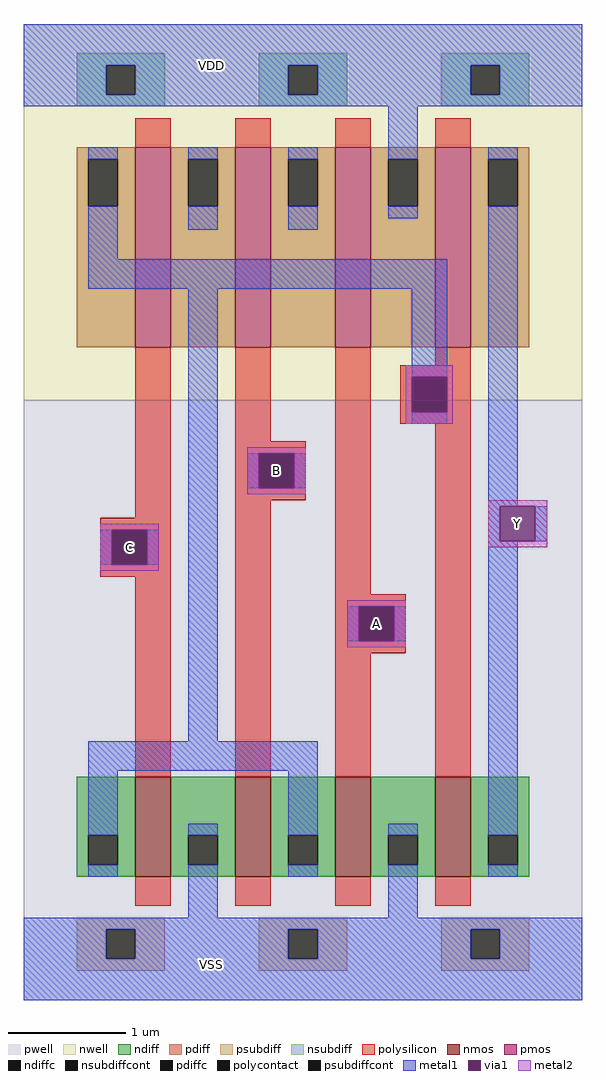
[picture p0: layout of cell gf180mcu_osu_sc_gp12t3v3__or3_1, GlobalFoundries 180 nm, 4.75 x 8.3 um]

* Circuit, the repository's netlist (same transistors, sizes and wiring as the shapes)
** sch_path: /foss/designs/work/12t_or3_1/gf180mcu_osu_sc_gp12t3v3__or3_1.sch
.subckt gf180mcu_osu_sc_gp12t3v3__or3_1 A B C Y VDD VSS
*.PININFO A:I B:I C:I Y:O VDD:B VSS:B
X1 net1 A VDD VDD pfet_03v3 w=1.7u l=0.3u m=1
X0 net2 B net1 VDD pfet_03v3 w=1.7u l=0.3u m=1
X6 net3 C net2 VDD pfet_03v3 w=1.7u l=0.3u m=1
X2 net3 A VSS VSS nfet_03v3 w=0.85u l=0.3u m=1
X3 net3 B VSS VSS nfet_03v3 w=0.85u l=0.3u m=1
X7 net3 C VSS VSS nfet_03v3 w=0.85u l=0.3u m=1
X4 Y net3 VDD VDD pfet_03v3 w=1.7u l=0.3u m=1
X5 Y net3 VSS VSS nfet_03v3 w=0.85u l=0.3u m=1
.ends

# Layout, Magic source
magic
tech gf180mcuD
<< nwell >>
rect 137 102 232 166
<< pwell >>
rect 137 0 232 102
<< nmos >>
rect 156 21 162 38
rect 173 21 179 38
rect 190 21 196 38
rect 207 21 213 38
<< pmos >>
rect 156 111 162 145
rect 173 111 179 145
rect 190 111 196 145
rect 207 111 213 145
<< ndiff >>
rect 146 28 156 38
rect 146 23 148 28
rect 153 23 156 28
rect 146 21 156 23
rect 162 28 173 38
rect 162 23 165 28
rect 170 23 173 28
rect 162 21 173 23
rect 179 28 190 38
rect 179 23 182 28
rect 187 23 190 28
rect 179 21 190 23
rect 196 28 207 38
rect 196 23 199 28
rect 204 23 207 28
rect 196 21 207 23
rect 213 28 223 38
rect 213 23 216 28
rect 221 23 223 28
rect 213 21 223 23
<< pdiff >>
rect 146 143 156 145
rect 146 135 148 143
rect 153 135 156 143
rect 146 111 156 135
rect 162 143 173 145
rect 162 135 165 143
rect 170 135 173 143
rect 162 111 173 135
rect 179 143 190 145
rect 179 135 182 143
rect 187 135 190 143
rect 179 111 190 135
rect 196 143 207 145
rect 196 135 199 143
rect 204 135 207 143
rect 196 111 207 135
rect 213 143 223 145
rect 213 135 216 143
rect 221 135 223 143
rect 213 111 223 135
<< ndiffc >>
rect 148 23 153 28
rect 165 23 170 28
rect 182 23 187 28
rect 199 23 204 28
rect 216 23 221 28
<< pdiffc >>
rect 148 135 153 143
rect 165 135 170 143
rect 182 135 187 143
rect 199 135 204 143
rect 216 135 221 143
<< psubdiff >>
rect 146 12 161 14
rect 146 7 151 12
rect 156 7 161 12
rect 146 5 161 7
rect 177 12 192 14
rect 177 7 182 12
rect 187 7 192 12
rect 177 5 192 7
rect 208 12 223 14
rect 208 7 213 12
rect 218 7 223 12
rect 208 5 223 7
<< nsubdiff >>
rect 146 159 161 161
rect 146 154 151 159
rect 156 154 161 159
rect 146 152 161 154
rect 177 159 192 161
rect 177 154 182 159
rect 187 154 192 159
rect 177 152 192 154
rect 208 159 223 161
rect 208 154 213 159
rect 218 154 223 159
rect 208 152 223 154
<< psubdiffcont >>
rect 151 7 156 12
rect 182 7 187 12
rect 213 7 218 12
<< nsubdiffcont >>
rect 151 154 156 159
rect 182 154 187 159
rect 213 154 218 159
<< polysilicon >>
rect 156 145 162 150
rect 173 145 179 150
rect 190 145 196 150
rect 207 145 213 150
rect 156 82 162 111
rect 150 80 162 82
rect 150 74 152 80
rect 158 74 162 80
rect 150 72 162 74
rect 156 38 162 72
rect 173 95 179 111
rect 173 93 185 95
rect 173 87 177 93
rect 183 87 185 93
rect 173 85 185 87
rect 173 38 179 85
rect 190 69 196 111
rect 207 108 213 111
rect 201 106 213 108
rect 201 100 203 106
rect 209 100 213 106
rect 201 98 213 100
rect 190 67 202 69
rect 190 61 194 67
rect 200 61 202 67
rect 190 59 202 61
rect 190 38 196 59
rect 207 38 213 98
rect 156 16 162 21
rect 173 16 179 21
rect 190 16 196 21
rect 207 16 213 21
<< polycontact >>
rect 152 74 158 80
rect 177 87 183 93
rect 203 100 209 106
rect 194 61 200 67
<< metal1 >>
rect 137 159 232 166
rect 137 154 151 159
rect 156 154 182 159
rect 187 154 213 159
rect 218 154 232 159
rect 137 152 232 154
rect 148 143 153 145
rect 148 126 153 135
rect 165 143 170 145
rect 165 131 170 135
rect 182 143 187 145
rect 182 131 187 135
rect 199 143 204 152
rect 199 133 204 135
rect 216 143 221 145
rect 148 121 209 126
rect 150 74 152 80
rect 158 74 160 80
rect 165 44 170 121
rect 203 106 209 121
rect 203 98 209 100
rect 175 87 177 93
rect 183 87 185 93
rect 216 84 221 135
rect 216 78 218 84
rect 224 78 226 84
rect 192 61 194 67
rect 200 61 202 67
rect 148 39 187 44
rect 148 28 153 39
rect 148 21 153 23
rect 165 28 170 30
rect 165 14 170 23
rect 182 28 187 39
rect 182 21 187 23
rect 199 28 204 30
rect 199 14 204 23
rect 216 28 221 78
rect 216 21 221 23
rect 137 12 232 14
rect 137 7 151 12
rect 156 7 182 12
rect 187 7 213 12
rect 218 7 232 12
rect 137 0 232 7
<< via1 >>
rect 152 74 158 80
rect 203 100 209 106
rect 177 87 183 93
rect 218 78 224 84
rect 194 61 200 67
<< metal2 >>
rect 202 106 210 108
rect 202 100 203 106
rect 209 100 210 106
rect 202 98 210 100
rect 175 93 185 94
rect 175 87 177 93
rect 183 87 185 93
rect 175 86 185 87
rect 216 84 226 85
rect 150 80 160 81
rect 150 74 152 80
rect 158 74 160 80
rect 216 78 218 84
rect 224 78 226 84
rect 216 77 226 78
rect 150 73 160 74
rect 192 67 202 68
rect 192 61 194 67
rect 200 61 202 67
rect 192 60 202 61
<< labels >>
flabel metal1 161 155 177 163 0 FreeSans 48 0 0 0 VDD
port 5 nsew
flabel metal1 161 2 177 10 0 FreeSans 48 0 0 0 VSS
port 6 nsew
flabel metal2 192 60 202 68 0 FreeSans 48 0 0 0 A
port 1 nsew
flabel metal2 175 86 185 94 0 FreeSans 48 0 0 0 B
port 2 nsew
flabel metal2 150 73 160 81 0 FreeSans 48 0 0 0 C
port 3 nsew
flabel metal2 216 77 226 85 0 FreeSans 48 0 0 0 Y
port 4 nsew
<< properties >>
string FIXED_BBOX 137 0 232 166
<< end >>
